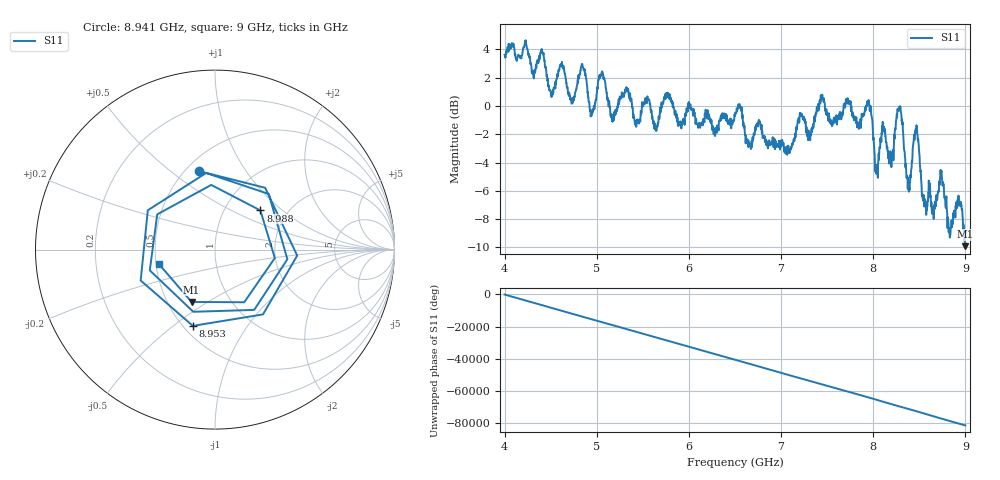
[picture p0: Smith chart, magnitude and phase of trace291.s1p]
! Created with skrf 1.8.0 (http://scikit-rf.org).
# Hz S RI R 50.0
!freq ReS11 ImS11
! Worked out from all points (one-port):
!   1601 points, 4 GHz to 9 GHz, reference 50 ohm
!   lowest |S11| = -9.9 dB at 8.997 GHz (marker M1), VSWR 1.94, Z = 32.9 - j21.4 ohm
!   |S11| at or under -10 dB: nowhere
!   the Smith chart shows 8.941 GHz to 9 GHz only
!   S11 on the Smith chart (normalised r, x): 8.941 GHz: 0.58, +0.64; 8.953 GHz: 0.56, -0.59; 8.988 GHz: 1.47, +0.72; 9 GHz: 0.52, -0.09
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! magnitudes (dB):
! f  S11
! 4 GHz  3.6
! 4.409 GHz  3.8
! 4.506 GHz  0.9
! 4.625 GHz  2.8
! 4.734 GHz  0.5
! 4.853 GHz  2.7
! 4.947 GHz  -0.5
! 5.044 GHz  2.2
! 5.172 GHz  -1.1
! 5.25 GHz  0.7
! 5.875 GHz  -0.8
! 6.5 GHz  -0.7
! 7.125 GHz  -2.7
! 7.441 GHz  0.7
! 7.75 GHz  0.3
! 7.956 GHz  0.2
! 8.038 GHz  -4.2
! 8.109 GHz  -1.4
! 8.197 GHz  -4.3
! 8.288 GHz  -0.2
! 8.375 GHz  -5.8
! 8.466 GHz  -1.6
! 8.562 GHz  -6.6
! 8.941 GHz  -7.0
! 8.953 GHz  -7.1
! 8.988 GHz  -9.5
! 8.997 GHz  -9.9
! 9 GHz  -9.8
